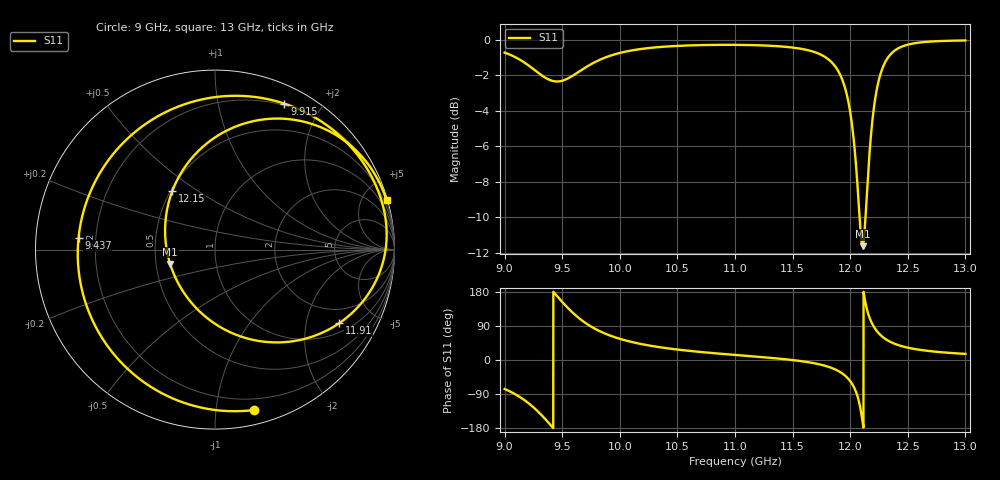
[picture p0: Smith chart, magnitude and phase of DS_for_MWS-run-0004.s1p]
! TOUCHSTONE file generated by CST DESIGN STUDIO
! Date and time: Tue Feb  4 17:58:42 2025
! Project name: C:\Work\MatlabApps\UnitCellOptimizationMatlab\CST\unitcell.cst
! Tree item: Tasks\Sweep1\SPara1\S-Parameters
! Header version: 2024
! Port assignment regex: !\s*Touchstone port\s*([0-9]+)\s*=\s*(CST MWS port|CST DES external port|CST DES block port)\s*(.+)\s* \(\"(.*)\"\)(\s*mode\s*([0-9]+))?.*
! Touchstone port assignment:
! Touchstone port 1 = CST DES external port 1 ("")
# GHz S MA R 50
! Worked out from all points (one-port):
!   4001 points, 9 GHz to 13 GHz, reference 50 ohm
!   lowest |S11| = -11.6 dB at 12.11 GHz (marker M1), VSWR 1.71, Z = 29.7 - j5.12 ohm
!   |S11| at or under -10 dB: 12.08144 GHz to 12.13248 GHz (51.05 MHz wide, 0.422 % of centre)
!   S11 on the Smith chart (normalised r, x): 9 GHz: 0.11, -1.26; 9.437 GHz: 0.13, +0.04; 9.915 GHz: 0.18, +1.57; 11.91 GHz: 1.34, -3.10; 12.15 GHz: 0.51, +0.40; 13 GHz: 0.13, +7.06
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9  0.9194 -76.5
9.126  0.8807 -96.5
9.227  0.8372 -118.8
9.344  0.7848 -153.0
9.437  0.7631 175.0
9.5  0.7663 153.2
9.587  0.7902 126.0
9.676  0.8248 103.3
9.778  0.8625 83.5
9.915  0.9006 64.5
10  0.9174 55.9
10.215  0.9441 40.4
10.5  0.9602 27.6
11  0.9668 13.4
11.5  0.95 -0.2
11.76  0.9023 -13.5
11.907  0.8035 -30.8
11.956  0.7298 -41.4
12  0.6256 -55.8
12.055  0.4246 -87.7
12.107  0.2624 -162.2
12.152  0.4036 126.1
12.199  0.6177 91.0
12.252  0.7776 69.1
12.355  0.9126 46.9
12.5  0.9681 32.6
12.691  0.9874 23.5
13  0.9947 16.1
